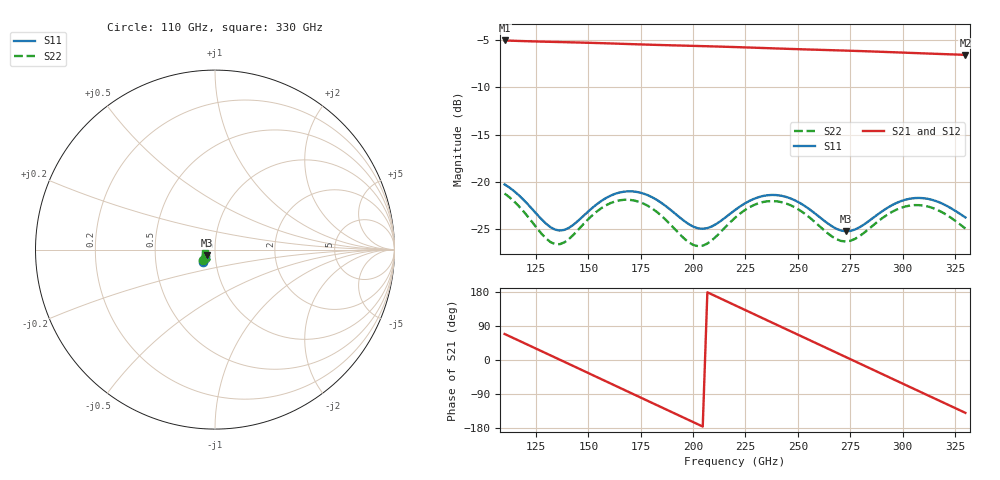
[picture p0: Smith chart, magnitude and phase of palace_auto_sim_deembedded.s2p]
! Created with skrf 1.11.0 (http://scikit-rf.org).
# GHz S DB R 50.0
!freq dBS11 angS11 dBS21 angS21 dBS12 angS12 dBS22 angS22
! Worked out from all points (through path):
!   101 points, 110 GHz to 330 GHz, reference 50 ohm
!   highest |S21| = -5.04 dB at 110 GHz (marker M1); lowest = -6.6 dB at 330 GHz (marker M2)
!   group delay of S21, straight-line fit = 7.18 ps
!   lowest |S11| = -25.2 dB at 272.8 GHz (marker M3), VSWR 1.12, Z = 45.7 - j2.96 ohm
!   |S11| at or under -10 dB: start of sweep to end of sweep
!   |S22| runs from -26.8 to -21.2 dB; largest |S21 - S12| = 9.1e-13
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110  -20.27 -134.6  -5.04 68.7  -5.04 68.7  -21.23 -138.3
121  -22.35 -144.0  -5.12 40.4  -5.12 40.4  -23.65 -147.7
129.8  -24.42 -140.9  -5.17 17.7  -5.17 17.7  -25.99 -142.5
136.4  -25.15 -131.1  -5.21 0.7  -5.21 0.7  -26.59 -130.3
147.4  -23.65 -119.1  -5.27 -27.8  -5.27 -27.8  -24.53 -118.6
158.4  -21.71 -123.3  -5.34 -56.3  -5.34 -56.3  -22.48 -125.2
167.2  -21.03 -132.2  -5.40 -79.1  -5.40 -79.1  -21.89 -135.7
176  -21.22 -141.8  -5.46 -101.8  -5.46 -101.8  -22.27 -146.5
184.8  -22.21 -149.0  -5.52 -124.5  -5.52 -124.5  -23.57 -154.2
202.4  -24.92 -142.1  -5.62 -170.0  -5.62 -170.0  -26.80 -142.0
211.2  -24.43 -131.6  -5.68 167.3  -5.68 167.3  -25.73 -129.1
220  -22.98 -128.9  -5.74 144.5  -5.74 144.5  -23.80 -127.8
231  -21.63 -135.3  -5.82 116.0  -5.82 116.0  -22.28 -136.7
239.8  -21.40 -143.5  -5.88 93.3  -5.88 93.3  -22.05 -146.6
248.6  -21.95 -151.2  -5.95 70.6  -5.95 70.6  -22.70 -155.5
257.4  -23.20 -155.2  -6.01 47.9  -6.01 47.9  -24.11 -160.2
272.8  -25.23 -143.9  -6.11 8.1  -6.11 8.1  -26.31 -147.7
283.8  -24.16 -132.6  -6.19 -20.3  -6.19 -20.3  -25.00 -136.2
294.8  -22.48 -133.6  -6.28 -48.8  -6.28 -48.8  -23.19 -138.5
303.6  -21.77 -139.7  -6.35 -71.5  -6.35 -71.5  -22.50 -145.8
312.4  -21.81 -147.0  -6.42 -94.1  -6.42 -94.1  -22.62 -154.0
330  -23.76 -153.3  -6.56 -139.4  -6.56 -139.4  -24.93 -160.8
